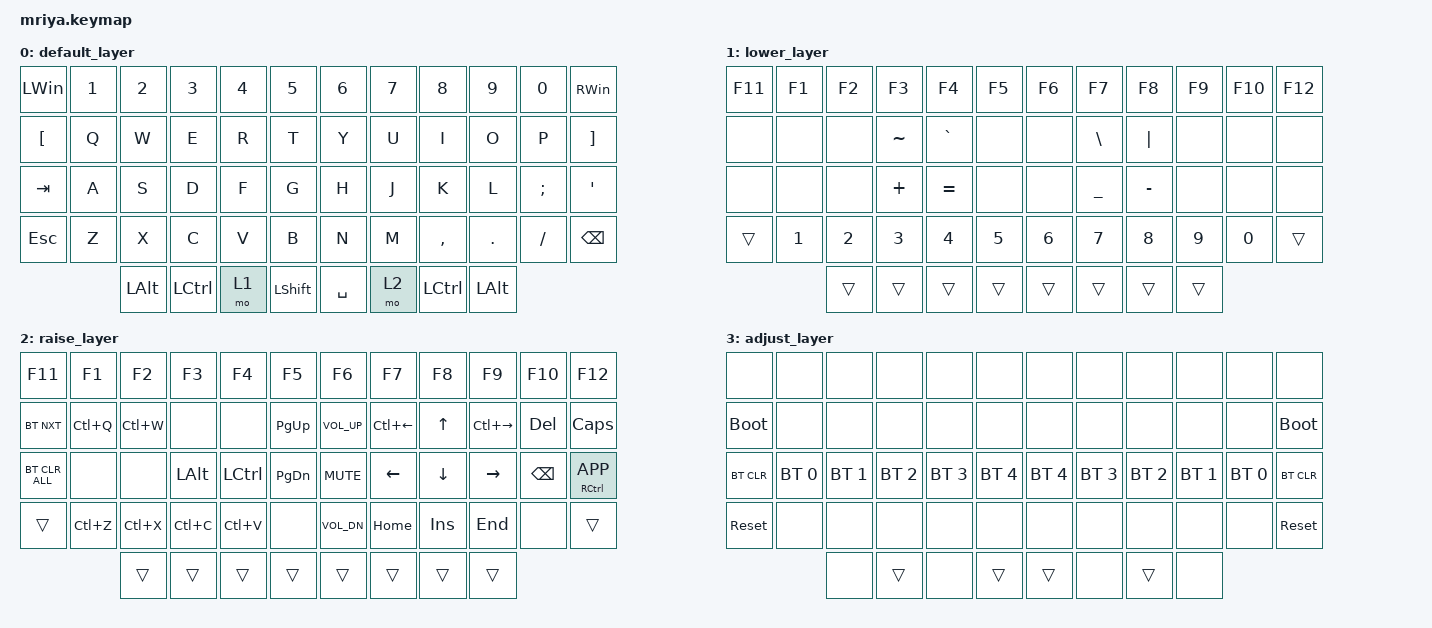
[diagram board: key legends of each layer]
/*
 * Copyright (c) 2023 Andrei Gaevskii
 *
 * SPDX-License-Identifier: MIT
 */

#include <behaviors.dtsi>
#include <dt-bindings/zmk/bt.h>
#include <dt-bindings/zmk/keys.h>

#define DEF 0
#define LWR 1
#define RSE 2
#define ADJ 3

&lt { quick_tap_ms = <200>; };

&mt { quick_tap_ms = <200>; };

/ {
    combos {
        compatible = "zmk,combos";

        enter {
            bindings = <&kp ENTER>;
            key-positions = <53 32>;
        };

        dw {
            bindings = <&kp LC(BACKSPACE)>;
            key-positions = <53 33>;
        };

        layer3 {
            bindings = <&mo 3>;
            key-positions = <50 53>;
        };
    };

    keymap {
        compatible = "zmk,keymap";

        default_layer {
            bindings = <
  &kp LEFT_WIN      &kp N1  &kp N2        &kp N3     &kp N4  &kp N5            &kp N6     &kp N7  &kp N8            &kp N9        &kp N0    &kp RIGHT_WIN
  &kp LEFT_BRACKET  &kp Q   &kp W         &kp E      &kp R   &kp T             &kp Y      &kp U   &kp I             &kp O         &kp P     &kp RIGHT_BRACKET
  &kp TAB           &kp A   &kp S         &kp D      &kp F   &kp G             &kp H      &kp J   &kp K             &kp L         &kp SEMI  &kp SQT
  &kp ESCAPE        &kp Z   &kp X         &kp C      &kp V   &kp B             &kp N      &kp M   &kp COMMA         &kp DOT       &kp FSLH  &kp BACKSPACE
                            &kp LEFT_ALT  &kp LCTRL  &mo 1   &kp LEFT_SHIFT    &kp SPACE  &mo 2   &kp LEFT_CONTROL  &kp LEFT_ALT
            >;
        };

        lower_layer {
            bindings = <
  &kp F11  &kp F1  &kp F2  &kp F3     &kp F4     &kp F5    &kp F6  &kp F7         &kp F8     &kp F9  &kp F10  &kp F12
  &none    &none   &none   &kp TILDE  &kp GRAVE  &none     &none   &kp BACKSLASH  &kp PIPE   &none   &none    &none
  &none    &none   &none   &kp PLUS   &kp EQUAL  &none     &none   &kp UNDER      &kp MINUS  &none   &none    &none
  &trans   &kp N1  &kp N2  &kp N3     &kp N4     &kp N5    &kp N6  &kp N7         &kp N8     &kp N9  &kp N0   &trans
                   &trans  &trans     &trans     &trans    &trans  &trans         &trans     &trans
            >;
        };

        raise_layer {
            bindings = <
  &kp F11         &kp F1     &kp F2     &kp F3        &kp F4            &kp F5           &kp F6        &kp F7              &kp F8        &kp F9               &kp F10        &kp F12
  &bt BT_NXT      &kp LC(Q)  &kp LC(W)  &none         &none             &kp PAGE_UP      &kp C_VOL_UP  &kp LC(LEFT_ARROW)  &kp UP_ARROW  &kp LC(RIGHT_ARROW)  &kp DELETE     &kp CAPS
  &bt BT_CLR_ALL  &none      &none      &kp LEFT_ALT  &kp LEFT_CONTROL  &kp PAGE_DOWN    &kp C_MUTE    &kp LEFT            &kp DOWN      &kp RIGHT            &kp BACKSPACE  &mt RCTRL K_APP
  &trans          &kp LC(Z)  &kp LC(X)  &kp LC(C)     &kp LC(V)         &none            &kp C_VOL_DN  &kp HOME            &kp INSERT    &kp END              &none          &trans
                             &trans     &trans        &trans            &trans           &trans        &trans              &trans        &trans
            >;
        };

        adjust_layer {
            bindings = <
  &none        &none         &none         &none         &none         &none           &none         &none         &none         &none         &none         &none
  &bootloader  &none         &none         &none         &none         &none           &none         &none         &none         &none         &none         &bootloader
  &bt BT_CLR   &bt BT_SEL 0  &bt BT_SEL 1  &bt BT_SEL 2  &bt BT_SEL 3  &bt BT_SEL 4    &bt BT_SEL 4  &bt BT_SEL 3  &bt BT_SEL 2  &bt BT_SEL 1  &bt BT_SEL 0  &bt BT_CLR
  &sys_reset   &none         &none         &none         &none         &none           &none         &none         &none         &none         &none         &sys_reset
                             &none         &trans        &none         &trans          &trans        &none         &trans        &none
            >;
        };
    };
};
